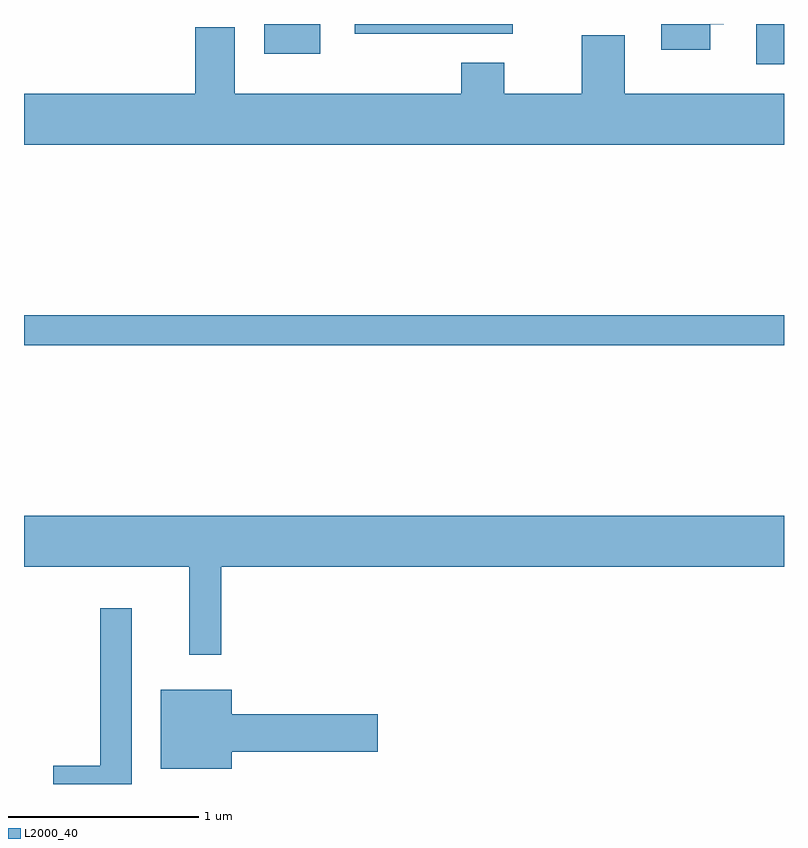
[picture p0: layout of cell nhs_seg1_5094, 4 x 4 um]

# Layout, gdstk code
import gdstk
lib = gdstk.Library(unit=1e-6, precision=1e-09)
def R(c, l, rs):  # rectangles x0, y0, x1, y1
    for r in rs: c.add(gdstk.rectangle(r[:2], r[2:], *l))
def P(c, l, *ps):  # polygons
    for p in ps: c.add(gdstk.Polygon(p, *l))
L2000_40 = (2000, 40)

nhs_seg1_5094 = lib.new_cell('nhs_seg1_5094')
R(nhs_seg1_5094, L2000_40, [(337.611,954.021,341.611,954.179), (341.466,955.501,341.611,955.712), (338.876,955.556,339.169,955.712), (339.353,955.661,340.184,955.712)])
P(nhs_seg1_5094, L2000_40, [(341.224,955.711),(341.294,955.711),(341.294,955.712),(340.966,955.712),(340.966,955.576),(341.224,955.576)],
  [(341.611,955.344),(340.774,955.344),(340.774,955.654),(340.546,955.654),(340.546,955.344),(340.139,955.344),(340.139,955.509),(339.911,955.509),(339.911,955.344),(338.719,955.344),(338.719,955.694),(338.511,955.694),(338.511,955.344),(337.611,955.344),(337.611,955.076),(341.611,955.076)],
  [(338.649,952.856),(341.611,952.856),(341.611,953.124),(337.611,953.124),(337.611,952.856),(338.481,952.856),(338.481,952.393),(338.649,952.393)],
  [(338.179,952.638),(338.011,952.638),(338.011,951.809),(337.766,951.809),(337.766,951.712),(338.179,951.712)],
  [(338.704,951.881),(339.474,951.881),(339.474,952.079),(338.704,952.079),(338.704,952.209),(338.331,952.209),(338.331,951.791),(338.704,951.791)])

lib.write_gds('nhs_seg1_5094.gds')
